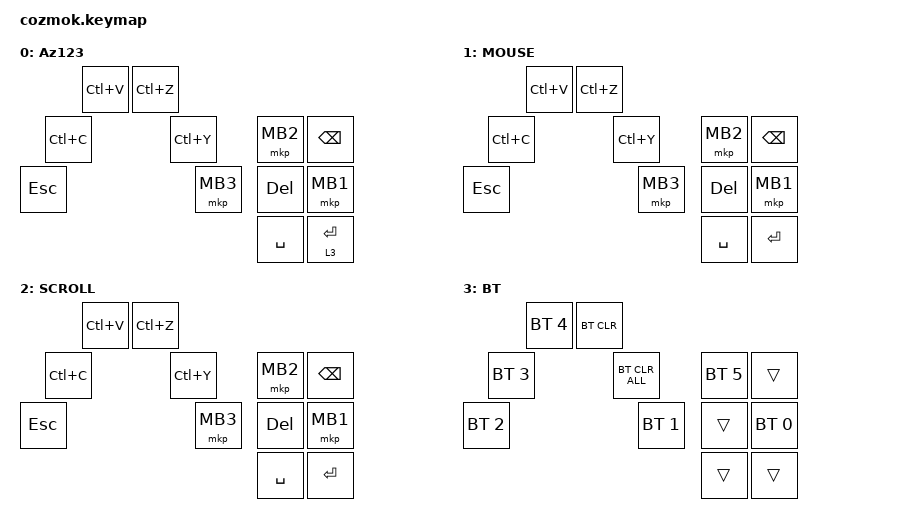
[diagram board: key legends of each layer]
#include <behaviors.dtsi>
#include <dt-bindings/zmk/keys.h>
#include <dt-bindings/zmk/pointing.h>
#include <dt-bindings/zmk/bt.h>
#include <behaviors/rgbled_widget.dtsi>

#define MOUSE 1
#define SCROLL 2
#define BT 3

&mt {
   flavor = "tap-preferred";
   quick_tap_ms = <125>;
   tapping_term_ms = <250>;
};
 
/ {
    macros {
        to_layer_0: to_layer_0 {
            compatible = "zmk,behavior-macro-one-param";
            #binding-cells = <1>;
            bindings = <&to 0 &macro_param_1to1 &kp MACRO_PLACEHOLDER>;
            label = "TO_LAYER_0";
        };
    };

    behaviors {
        lt_to_layer_0: lt_to_layer_0 {
            compatible = "zmk,behavior-hold-tap";
            label = "LAYER_TAP_TO_0";
            bindings = <&mo>, <&to_layer_0>;

            #binding-cells = <2>;
            tapping-term-ms = <200>;
        };
    }; 
 
   keymap {
       compatible = "zmk,keymap";
       default_layer {
           label = "Az123";
           bindings = <
&kp ESC   &kp LC(C) &kp LC(V) &kp LC(Z) &kp LC(Y)
&mkp MB3            &mkp MB2  &kp BKSP  &kp DEL
&mkp MB1                      &kp SPACE &lt 3 ENTER
>;
       };
 
       mouse_layer {
           display-name = "MOUSE";    
           label = "MOUSE";
           bindings = <
&kp ESC   &kp LC(C) &kp LC(V) &kp LC(Z) &kp LC(Y)
&mkp MB3            &mkp MB2  &kp BKSP  &kp DEL
&mkp MB1                      &kp SPACE &kp ENTER
>;
       };

       scroll_layer {
           display-name = "SCROLL";    
           label = "SCROLL";
           bindings = <
&kp ESC   &kp LC(C) &kp LC(V) &kp LC(Z) &kp LC(Y)
&mkp MB3            &mkp MB2  &kp BKSP  &kp DEL
&mkp MB1                      &kp SPACE &kp ENTER
>;
       };

        bt_layer {
           display-name = "BT";    
           label = "BT";
           bindings = <
&bt BT_SEL 2 &bt BT_SEL 3 &bt BT_SEL 4  &bt BT_CLR &bt BT_CLR_ALL
&bt BT_SEL 1              &bt BT_SEL 5  &trans     &trans
&bt BT_SEL 0                            &trans     &trans
>;
    };
  };
};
